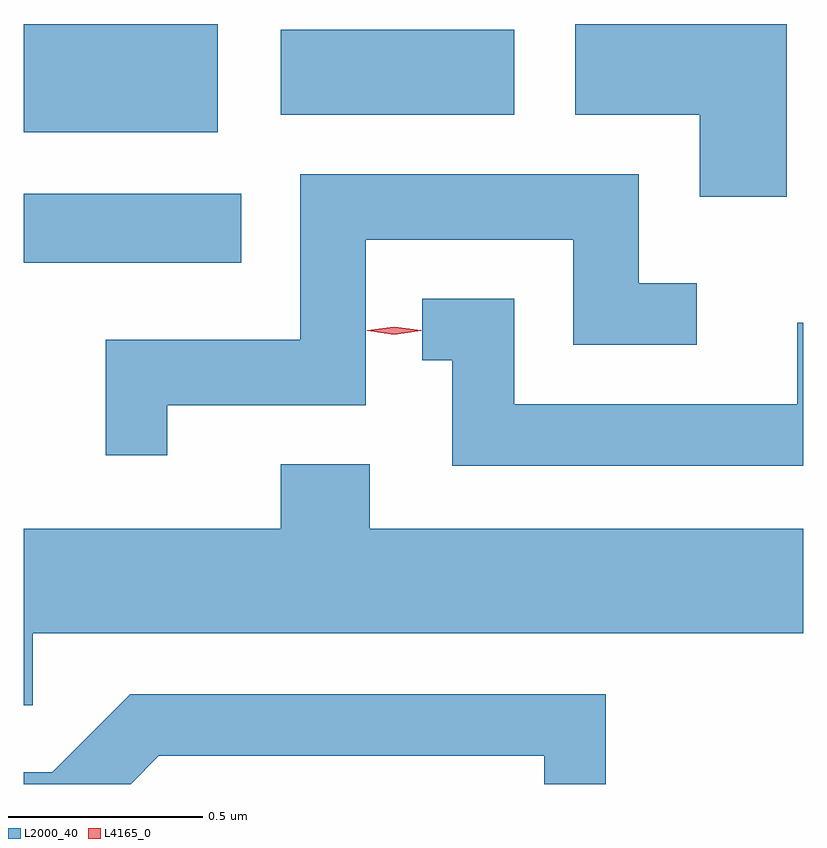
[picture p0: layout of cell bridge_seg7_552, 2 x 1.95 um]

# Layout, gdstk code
import gdstk
lib = gdstk.Library(unit=1e-6, precision=1e-09)
def R(c, l, rs):  # rectangles x0, y0, x1, y1
    for r in rs: c.add(gdstk.rectangle(r[:2], r[2:], *l))
def P(c, l, *ps):  # polygons
    for p in ps: c.add(gdstk.Polygon(p, *l))
L2000_40 = (2000, 40)
L4165_0 = (4165, 0)

bridge_seg7_552 = lib.new_cell('bridge_seg7_552')
R(bridge_seg7_552, L2000_40, [(890.211,1759.666,890.769,1759.844), (890.211,1760.001,890.709,1760.279), (890.871,1760.046,891.469,1760.264)])
P(bridge_seg7_552, L2000_40, [(892.169,1760.279),(891.626,1760.279),(891.626,1760.046),(891.946,1760.046),(891.946,1759.836),(892.169,1759.836)],
  [(890.579,1759.301),(891.089,1759.301),(891.089,1759.726),(891.621,1759.726),(891.621,1759.456),(891.938,1759.456),(891.938,1759.614),(891.789,1759.614),(891.789,1759.894),(890.921,1759.894),(890.921,1759.469),(890.421,1759.469),(890.421,1759.173),(890.579,1759.173)],
  [(892.211,1759.513),(892.196,1759.513),(892.196,1759.304),(891.469,1759.304),(891.469,1759.574),(891.233,1759.574),(891.233,1759.416),(891.311,1759.416),(891.311,1759.146),(892.211,1759.146)],
  [(890.234,1758.716),(892.211,1758.716),(892.211,1758.984),(891.099,1758.984),(891.099,1759.149),(890.871,1759.149),(890.871,1758.984),(890.211,1758.984),(890.211,1758.531),(890.234,1758.531)],
  [(890.557,1758.401),(891.546,1758.401),(891.546,1758.329),(891.704,1758.329),(891.704,1758.559),(890.484,1758.559),(890.284,1758.359),(890.211,1758.359),(890.211,1758.329),(890.485,1758.329)])
P(bridge_seg7_552, L4165_0, [(891.162,1759.482),(891.092,1759.492),(891.092,1759.492),(891.092,1759.493),(891.162,1759.502),(891.231,1759.493),(891.231,1759.492),(891.231,1759.492)])

lib.write_gds('bridge_seg7_552.gds')
